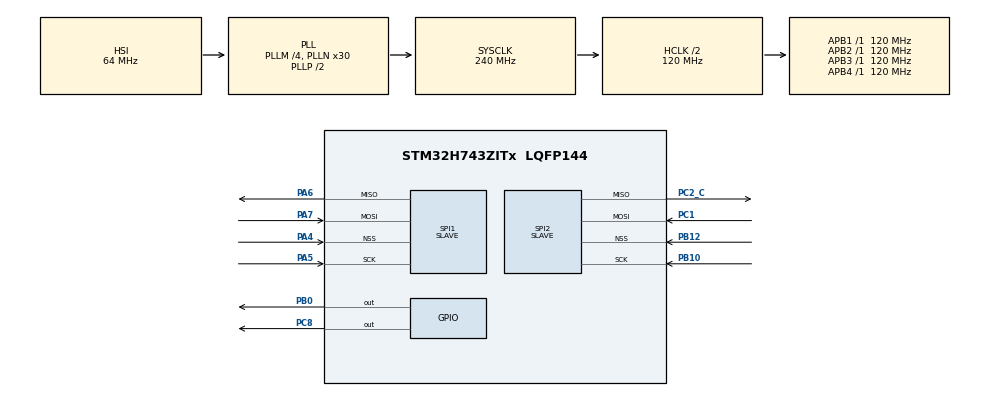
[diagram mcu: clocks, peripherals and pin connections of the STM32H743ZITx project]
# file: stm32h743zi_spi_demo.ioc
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Mcu.Family=STM32H7
Mcu.Name=STM32H743ZITx
Mcu.Package=LQFP144
NVIC.PriorityGroup=NVIC_PRIORITYGROUP_4
NVIC.SPI1_IRQn=true\:0\:0\:false\:false\:true\:true\:true
PA13\ (JTMS/SWDIO).Mode=Serial_Wire
PA13\ (JTMS/SWDIO).Signal=DEBUG_JTMS-SWDIO
PA14\ (JTCK/SWCLK).Mode=Serial_Wire
PA14\ (JTCK/SWCLK).Signal=DEBUG_JTCK-SWCLK
PA4.Mode=NSS_Signal_Hard_Input
PA4.Signal=SPI1_NSS
PA5.Mode=Full_Duplex_Slave
PA5.Signal=SPI1_SCK
PA6.Mode=Full_Duplex_Slave
PA6.Signal=SPI1_MISO
PA7.Mode=Full_Duplex_Slave
PA7.Signal=SPI1_MOSI
PB0.Signal=GPIO_Output
PB10.Mode=Full_Duplex_Slave
PB10.Signal=SPI2_SCK
PB12.Mode=NSS_Signal_Hard_Input
PB12.Signal=SPI2_NSS
PC1.Mode=Full_Duplex_Slave
PC1.Signal=SPI2_MOSI
PC2_C.Mode=Full_Duplex_Slave
PC2_C.Signal=SPI2_MISO
PC8.Signal=GPIO_Output
ProjectManager.HeapSize=0x200
ProjectManager.StackSize=0x400
ProjectManager.TargetToolchain=EWARM V8
RCC.ADCFreq_Value=129000000
RCC.APB1Freq_Value=120000000
RCC.APB2Freq_Value=120000000
RCC.APB3Freq_Value=120000000
RCC.APB4Freq_Value=120000000
RCC.CortexFreq_Value=240000000
RCC.DIVM1=4
RCC.DIVN1=30
RCC.HCLKFreq_Value=120000000
RCC.HPRE=RCC_HCLK_DIV2
RCC.PLL2FRACN=0
RCC.PLL3FRACN=0
RCC.PLLFRACN=0
RCC.SYSCLKFreq_VALUE=240000000
RCC.SYSCLKSource=RCC_SYSCLKSOURCE_PLLCLK
RCC.USBFreq_Value=240000000
SPI1.DataSize=SPI_DATASIZE_8BIT
SPI1.Direction=SPI_DIRECTION_2LINES
SPI1.Mode=SPI_MODE_SLAVE
SPI1.VirtualNSS=VM_NSSHARD
SPI1.VirtualType=VM_SLAVE
SPI2.DataSize=SPI_DATASIZE_8BIT
SPI2.Direction=SPI_DIRECTION_2LINES
SPI2.Mode=SPI_MODE_SLAVE
SPI2.VirtualNSS=VM_NSSHARD
SPI2.VirtualType=VM_SLAVE
board=custom

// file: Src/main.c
/* USER CODE BEGIN Header */
/**
  ******************************************************************************
  * @file           : main.c
  * @brief          : Main program body
  ******************************************************************************
  * @attention
  *
  * <h2><center>&copy; Copyright (c) 2019 STMicroelectronics.
  * All rights reserved.</center></h2>
  *
  * This software component is licensed by ST under BSD 3-Clause license,
  * the "License"; You may not use this file except in compliance with the
  * License. You may obtain a copy of the License at:
  *                        opensource.org/licenses/BSD-3-Clause
  *
  ******************************************************************************
  */
/* USER CODE END Header */

#include "main.h"
#include "spi.h"
#include "gpio.h"

/* USER CODE BEGIN Includes */
#include <string.h>
/* USER CODE END Includes */

void SystemClock_Config(void);

/* USER CODE BEGIN 0 */
enum {
  TRANSFER_WAIT,
  TRANSFER_COMPLETE,
  TRANSFER_ERROR
};
__IO uint32_t wTransferState = TRANSFER_WAIT;
#define RX_SDATA_SIZE (20)
#define TX_SDATA_SIZE (20)

uint8_t txSData[TX_SDATA_SIZE] = {0x0A, 0x09, 0x08, 0x07, 0x06, 0x05, 0x04, 0x03, 0x02, 0x01};
uint8_t rxSData[RX_SDATA_SIZE] = {0x00, 0x00, 0x00, 0x00, 0x00, 0x00, 0x00, 0x00, 0x00, 0x00};
/* USER CODE END 0 */

int main(void)
{

  /* MCU Configuration--------------------------------------------------------*/

  /* Reset of all peripherals, Initializes the Flash interface and the Systick. */
  HAL_Init();

  /* Configure the system clock */
  SystemClock_Config();

  /* Initialize all configured peripherals */
  MX_GPIO_Init();
  MX_SPI2_Init();
  MX_SPI1_Init();

  /* Infinite loop */
  /* USER CODE BEGIN WHILE */
  while (1)
  {
#if 0
    HAL_SPI_TransmitReceive_IT(&hspi1, &txSData[0], &rxSData[0], RX_SDATA_SIZE);
    //HAL_SPI_Reload_TransmitReceive_IT(&hspi1, &txSData[9], &rxSData[9], 1);

    while(wTransferState != TRANSFER_COMPLETE);

    wTransferState = TRANSFER_WAIT;
    memset(rxSData,0x00, RX_SDATA_SIZE);
#endif

#if 1
    SPI_HandleTypeDef *hspi = &hspi1;

    uint16_t   initial_TxXferCount;
    uint16_t   initial_RxXferCount;

    initial_TxXferCount = TX_SDATA_SIZE;
    initial_RxXferCount = RX_SDATA_SIZE;

    hspi->ErrorCode   = HAL_SPI_ERROR_NONE;
    hspi->pRxBuffPtr  = (uint8_t *)rxSData;
    hspi->RxXferCount = RX_SDATA_SIZE;
    hspi->RxXferSize  = RX_SDATA_SIZE;
    hspi->pTxBuffPtr  = (uint8_t *)txSData;
    hspi->TxXferCount = TX_SDATA_SIZE;
    hspi->TxXferSize  = TX_SDATA_SIZE;

    MODIFY_REG(hspi->Instance->CR2, SPI_CR2_TSIZE, 1);
    MODIFY_REG(hspi->Instance->CFG1, SPI_CFG1_UDRCFG, SPI_CFG1_UDRCFG_0);
    __HAL_SPI_ENABLE(hspi);

    uint8_t temp_rxdr = 0x00;
    while (/*(initial_TxXferCount > 0UL) || */(initial_RxXferCount > 0UL))
    {
      /* Wait until RXWNE/FRLVL flag is reset */
      if (((hspi->Instance->SR & (SPI_FLAG_RXWNE | SPI_FLAG_FRLVL)) != 0UL) && (initial_RxXferCount > 0UL))
      {
        *((uint8_t *)hspi->pRxBuffPtr) = *((__IO uint8_t *)&hspi->Instance->RXDR);
        temp_rxdr = *((uint8_t *)hspi->pRxBuffPtr);
        hspi->pRxBuffPtr += sizeof(uint8_t);
        hspi->RxXferCount--;
        initial_RxXferCount = hspi->RxXferCount;
      }
#if 1
      /* check TXP flag */
      //if ((__HAL_SPI_GET_FLAG(hspi, SPI_FLAG_TXP)) && (initial_TxXferCount > 0UL))
      if ((__HAL_SPI_GET_FLAG(hspi, SPI_FLAG_UDR)) && (initial_TxXferCount > 0UL))
      {
        HAL_GPIO_WritePin(GPIOC, GPIO_PIN_8, GPIO_PIN_SET);
        *((__IO uint8_t *)&hspi->Instance->TXDR) = temp_rxdr;//*((uint8_t *)hspi->pTxBuffPtr);
        hspi->pTxBuffPtr += sizeof(uint8_t);
        hspi->TxXferCount--;
        initial_TxXferCount = hspi->TxXferCount;
      }
#endif
    }

    memset(txSData,0x00, TX_SDATA_SIZE);
    memset(rxSData,0x00, RX_SDATA_SIZE);

    __HAL_SPI_CLEAR_EOTFLAG(hspi);
    __HAL_SPI_CLEAR_TXTFFLAG(hspi);

    /* Disable SPI peripheral */
    __HAL_SPI_DISABLE(hspi);

#else
    //if(HAL_SPI_TransmitReceive(&hspi2, txSData, rxSData, RX_SDATA_SIZE, 2000) != HAL_OK)
    //  Error_Handler();
#endif
    HAL_GPIO_TogglePin(GPIOB, GPIO_PIN_0);
    /* USER CODE END WHILE */

  }
}

void SystemClock_Config(void)
{
  RCC_OscInitTypeDef RCC_OscInitStruct = {0};
  RCC_ClkInitTypeDef RCC_ClkInitStruct = {0};
  RCC_PeriphCLKInitTypeDef PeriphClkInitStruct = {0};

  /** Supply configuration update enable
  */
  HAL_PWREx_ConfigSupply(PWR_LDO_SUPPLY);
  /** Configure the main internal regulator output voltage
  */
  __HAL_PWR_VOLTAGESCALING_CONFIG(PWR_REGULATOR_VOLTAGE_SCALE2);

  while(!__HAL_PWR_GET_FLAG(PWR_FLAG_VOSRDY)) {}
  /** Initializes the CPU, AHB and APB busses clocks
  */
  RCC_OscInitStruct.OscillatorType = RCC_OSCILLATORTYPE_HSI;
  RCC_OscInitStruct.HSIState = RCC_HSI_DIV1;
  RCC_OscInitStruct.HSICalibrationValue = RCC_HSICALIBRATION_DEFAULT;
  RCC_OscInitStruct.PLL.PLLState = RCC_PLL_ON;
  RCC_OscInitStruct.PLL.PLLSource = RCC_PLLSOURCE_HSI;
  RCC_OscInitStruct.PLL.PLLM = 4;
  RCC_OscInitStruct.PLL.PLLN = 30;
  RCC_OscInitStruct.PLL.PLLP = 2;
  RCC_OscInitStruct.PLL.PLLQ = 2;
  RCC_OscInitStruct.PLL.PLLR = 2;
  RCC_OscInitStruct.PLL.PLLRGE = RCC_PLL1VCIRANGE_3;
  RCC_OscInitStruct.PLL.PLLVCOSEL = RCC_PLL1VCOWIDE;
  RCC_OscInitStruct.PLL.PLLFRACN = 0;
  if (HAL_RCC_OscConfig(&RCC_OscInitStruct) != HAL_OK)
  {
    Error_Handler();
  }
  /** Initializes the CPU, AHB and APB busses clocks
  */
  RCC_ClkInitStruct.ClockType = RCC_CLOCKTYPE_HCLK|RCC_CLOCKTYPE_SYSCLK
                              |RCC_CLOCKTYPE_PCLK1|RCC_CLOCKTYPE_PCLK2
                              |RCC_CLOCKTYPE_D3PCLK1|RCC_CLOCKTYPE_D1PCLK1;
  RCC_ClkInitStruct.SYSCLKSource = RCC_SYSCLKSOURCE_PLLCLK;
  RCC_ClkInitStruct.SYSCLKDivider = RCC_SYSCLK_DIV1;
  RCC_ClkInitStruct.AHBCLKDivider = RCC_HCLK_DIV2;
  RCC_ClkInitStruct.APB3CLKDivider = RCC_APB3_DIV1;
  RCC_ClkInitStruct.APB1CLKDivider = RCC_APB1_DIV1;
  RCC_ClkInitStruct.APB2CLKDivider = RCC_APB2_DIV1;
  RCC_ClkInitStruct.APB4CLKDivider = RCC_APB4_DIV1;

  if (HAL_RCC_ClockConfig(&RCC_ClkInitStruct, FLASH_LATENCY_1) != HAL_OK)
  {
    Error_Handler();
  }
  PeriphClkInitStruct.PeriphClockSelection = RCC_PERIPHCLK_SPI1|RCC_PERIPHCLK_SPI2;
  PeriphClkInitStruct.Spi123ClockSelection = RCC_SPI123CLKSOURCE_PLL;
  if (HAL_RCCEx_PeriphCLKConfig(&PeriphClkInitStruct) != HAL_OK)
  {
    Error_Handler();
  }
}

/* USER CODE BEGIN 4 */
void HAL_SPI_TxRxCpltCallback(SPI_HandleTypeDef *hspi)
{
  wTransferState = TRANSFER_COMPLETE;
}

void HAL_SPI_Reload_RxCpltCallback(void)
{
  wTransferState = TRANSFER_ERROR;
}
/* USER CODE END 4 */

void Error_Handler(void)
{
}

/************************ (C) COPYRIGHT STMicroelectronics *****END OF FILE****/
